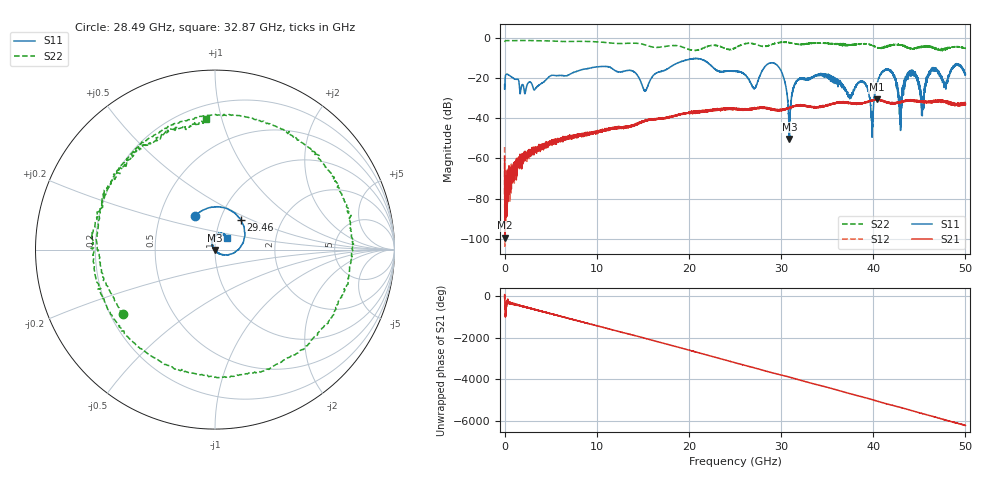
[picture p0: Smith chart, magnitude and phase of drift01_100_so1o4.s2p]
!Created with skrf (http://scikit-rf.org).
# Hz S RI R 50.0
!freq ReS11 ImS11 ReS21 ImS21 ReS12 ImS12 ReS22 ImS22
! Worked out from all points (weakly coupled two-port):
!   10001 points, 300 kHz to 50 GHz, reference 50 ohm
!   highest |S21| = -30.56 dB at 40.39 GHz (marker M1); lowest = -99.4 dB at 45.3 MHz (marker M2)
!   lowest |S11| = -50.4 dB at 30.9 GHz (marker M3), VSWR 1.01, Z = 49.7 - j0.146 ohm
!   |S11| at or under -10 dB: start of sweep to end of sweep
!   |S22| runs from -6.6 to -1.4 dB; largest |S21 - S12| = 0.0043
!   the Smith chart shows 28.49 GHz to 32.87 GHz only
!   S11 on the Smith chart (normalised r, x): 28.49 GHz: 0.75, +0.29; 29.46 GHz: 1.26, +0.44; 32.87 GHz: 1.13, +0.15
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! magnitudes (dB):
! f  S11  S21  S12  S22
! 300 kHz  -23.4  -59.1  -54.4  -2.1
! 45.3 MHz  -21.0  -99.4  -84.2  -1.7
! 8.335 GHz  -15.9  -47.8  -48.3  -1.8
! 15.24 GHz  -26.3  -41.3  -41.4  -3.6
! 16.67 GHz  -17.1  -40.2  -40.3  -4.8
! 25 GHz  -16.7  -35.5  -35.3  -5.1
! 27.11 GHz  -25.1  -35.0  -35.0  -3.1
! 28.49 GHz  -13.3  -34.7  -35.0  -4.1
! 29.46 GHz  -13.2  -36.2  -36.0  -2.7
! 30.9 GHz  -50.4  -34.7  -34.8  -2.5
! 31.61 GHz  -22.2  -33.7  -33.7  -3.0
! 32.87 GHz  -20.6  -34.2  -34.2  -2.7
! 33.34 GHz  -19.5  -34.3  -34.2  -2.7
! 38.91 GHz  -22.1  -32.2  -32.4  -3.0
! 39.86 GHz  -45.8  -31.1  -31.2  -3.7
! 40.39 GHz  -23.0  -30.6  -30.8  -4.8
! 41.67 GHz  -16.0  -32.1  -32.3  -4.0
! 42.91 GHz  -31.0  -32.1  -32.1  -3.5
! 44.07 GHz  -17.1  -31.2  -31.0  -5.3
! 45.31 GHz  -36.0  -32.2  -32.1  -4.4
! 46.42 GHz  -15.0  -31.7  -31.8  -4.6
! 50 GHz  -18.1  -33.1  -32.5  -5.3
